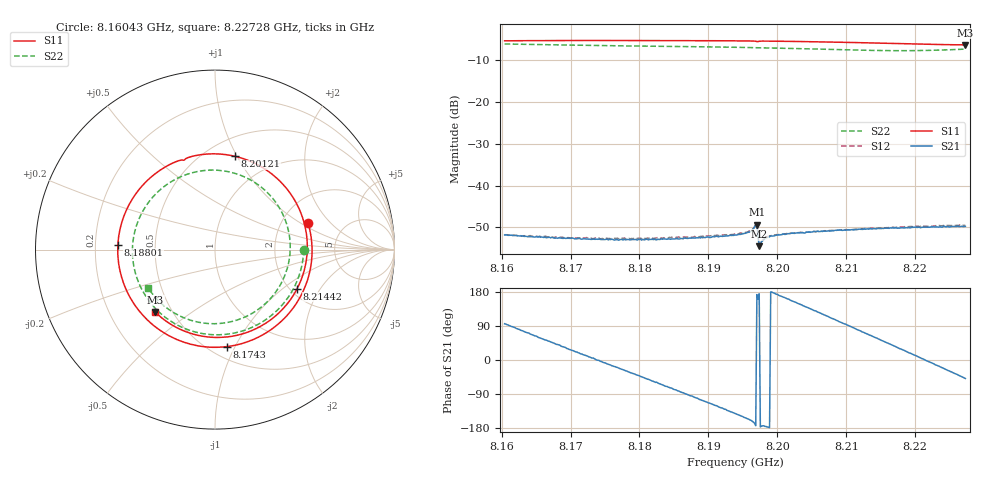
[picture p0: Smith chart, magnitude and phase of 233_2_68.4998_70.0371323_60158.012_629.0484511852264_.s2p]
#  HZ  S  RI  R  50.00
! Rohde & Schwarz Vector Network Analyzer
! Rohde-Schwarz,ZNB20-2Port,1311601062101988,3.16
! Created: UTC 3/20/2024, 4:59:02 PM
! freq[Hz]  re:S11  im:S11  re:S21  im:S21  re:S12  im:S12  re:S22  im:S22
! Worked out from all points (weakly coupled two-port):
!   401 points, 8.16043 GHz to 8.22728 GHz, reference 50 ohm
!   highest |S21| = -49.37 dB at 8.19703 GHz (marker M1); lowest = -54.5 dB at 8.19737 GHz (marker M2)
!   lowest |S11| = -6.3 dB at 8.22728 GHz (marker M3), VSWR 2.86, Z = 20.2 - j18.3 ohm
!   |S11| at or under -10 dB: nowhere
!   |S22| runs from -7.7 to -6.1 dB; largest |S21 - S12| = 0.00022
!   S11 on the Smith chart (normalised r, x): 8.16043 GHz: 2.79, +1.17; 8.1743 GHz: 0.60, -0.93; 8.18801 GHz: 0.30, +0.02; 8.20121 GHz: 0.67, +0.98; 8.21442 GHz: 2.18, -1.27; 8.22728 GHz: 0.40, -0.37
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8.16043e9  0.518 0.1487  -0.000253 0.00255  -0.000272 0.00258  0.4941 -0.000155
8.165778e9  0.5029 -0.2039  0.00132 0.00203  0.00131 0.00205  0.386 -0.2949
8.171628e9  0.2405 -0.4884  0.00219 0.000627  0.00223 0.000671  0.0995 -0.4666
8.174302e9  0.0666 -0.5404  0.00226 -0.000133  0.0023 -0.000147  -0.0531 -0.4703
8.178481e9  -0.2142 -0.5003  0.00191 -0.00119  0.00197 -0.00125  -0.2704 -0.3821
8.182826e9  -0.4442 -0.3127  0.00105 -0.002  0.00106 -0.00211  -0.421 -0.1943
8.188008e9  -0.541 0.0283  -0.000355 -0.00232  -0.00039 -0.00243  -0.45 0.088
8.190849e9  -0.4935 0.2203  -0.00118 -0.00212  -0.00129 -0.00217  -0.3909 0.2335
8.193857e9  -0.3708 0.3909  -0.002 -0.00162  -0.00213 -0.00156  -0.2776 0.356
8.196699e9  -0.1992 0.4962  -0.00308 -0.000705  -0.00316 -0.000644  -0.1354 0.4259
8.197033e9  -0.1752 0.4982  -0.00337 0.000437  -0.00345 0.000596  -0.117 0.4306
8.197367e9  -0.1624 0.507  -0.00187 0.000175  -0.00191 0.000285  -0.099 0.4347
8.197701e9  -0.1387 0.5165  -0.00212 -0.000216  -0.00213 -0.000145  -0.0802 0.4381
8.198704e9  -0.0676 0.5302  -0.00241 -0.000111  -0.00247 1.83e-05  -0.0238 0.443
8.201211e9  0.1089 0.5204  -0.0025 0.000747  -0.00251 0.00084  0.117 0.4229
8.205055e9  0.3471 0.3952  -0.0019 0.00203  -0.00181 0.00209  0.3032 0.3062
8.209902e9  0.5078 0.097  -0.000238 0.00291  -0.000112 0.00297  0.4178 0.0476
8.214415e9  0.4577 -0.2175  0.00162 0.00258  0.00173 0.00254  0.3509 -0.2179
8.216254e9  0.3821 -0.326  0.00226 0.00209  0.00239 0.00208  0.2751 -0.306
8.219095e9  0.2168 -0.446  0.00297 0.00102  0.00308 0.000949  0.1152 -0.3948
8.221769e9  0.0293 -0.4892  0.00317 -0.000152  0.00322 -0.000248  -0.0606 -0.4097
8.227285e9  -0.3329 -0.3481  0.00214 -0.00244  0.00209 -0.0026  -0.3709 -0.216
